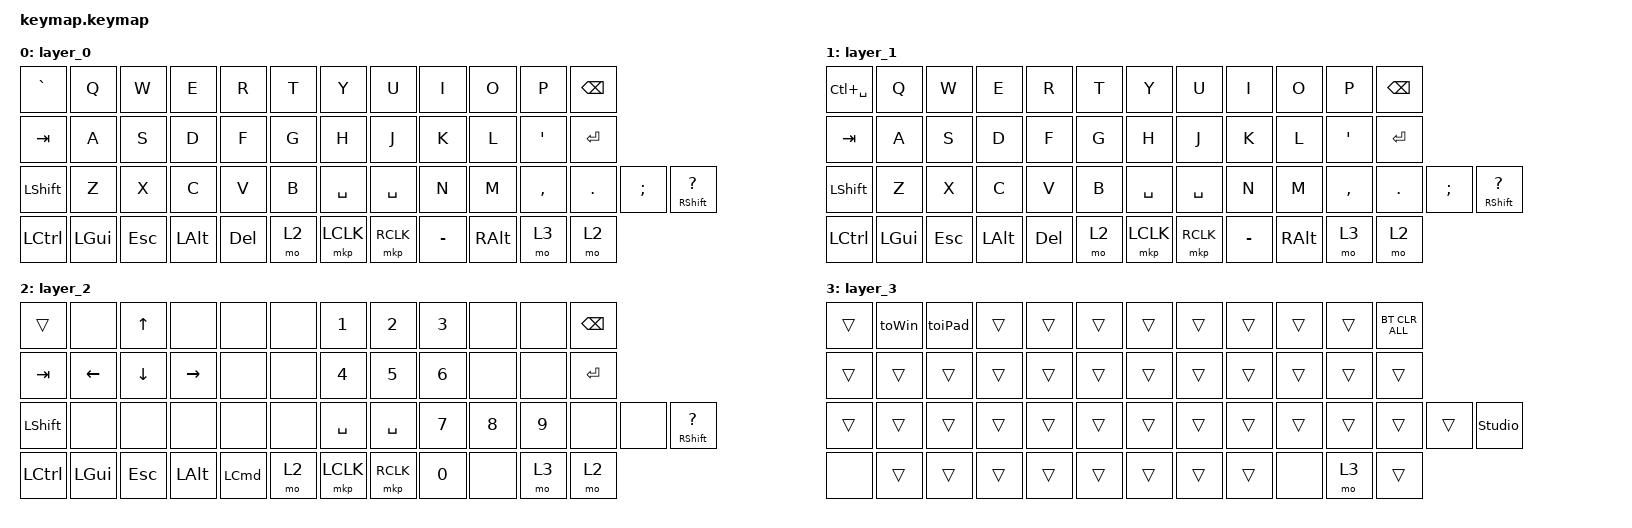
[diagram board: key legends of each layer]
#include <behaviors.dtsi>
#include <dt-bindings/zmk/bt.h>
#include <dt-bindings/zmk/keys.h>
#include <dt-bindings/zmk/pointing.h>

/ {
    combos { compatible = "zmk,combos"; };

    macros {
        toWin: toWin {
            compatible = "zmk,behavior-macro";
            #binding-cells = <0>;
            bindings = <&to 0 &bt BT_SEL 0>;
            label = "TOWIN";
        };

        toiPad: toiPad {
            compatible = "zmk,behavior-macro";
            #binding-cells = <0>;
            bindings = <&to 1 &bt BT_SEL 1>;
            label = "TOIPAD";
        };
    };

    keymap {
        compatible = "zmk,keymap";

        layer_0 {
            bindings = <
&kp GRAVE  &kp Q         &kp W    &kp E     &kp R       &kp T  &kp Y      &kp U      &kp I      &kp O          &kp P             &kp BSPC
&kp TAB    &kp A         &kp S    &kp D     &kp F       &kp G  &kp H      &kp J      &kp K      &kp L          &kp SINGLE_QUOTE  &kp ENTER
&kp LSHFT  &kp Z         &kp X    &kp C     &kp V       &kp B  &kp SPACE  &kp SPACE  &kp N      &kp M          &kp COMMA         &kp DOT    &kp SEMICOLON  &mt RSHFT QUESTION
&kp LCTRL  &kp LEFT_GUI  &kp ESC  &kp LALT  &kp DELETE  &mo 2  &mkp LCLK  &mkp RCLK  &kp MINUS  &kp RIGHT_ALT  &mo 3             &mo 2
            >;
        };

        layer_1 {
            bindings = <
&kp LC(SPACE)  &kp Q         &kp W    &kp E     &kp R       &kp T  &kp Y      &kp U      &kp I      &kp O          &kp P             &kp BSPC
&kp TAB        &kp A         &kp S    &kp D     &kp F       &kp G  &kp H      &kp J      &kp K      &kp L          &kp SINGLE_QUOTE  &kp ENTER
&kp LSHFT      &kp Z         &kp X    &kp C     &kp V       &kp B  &kp SPACE  &kp SPACE  &kp N      &kp M          &kp COMMA         &kp DOT    &kp SEMICOLON  &mt RSHFT QUESTION
&kp LCTRL      &kp LEFT_GUI  &kp ESC  &kp LALT  &kp DELETE  &mo 2  &mkp LCLK  &mkp RCLK  &kp MINUS  &kp RIGHT_ALT  &mo 3             &mo 2
            >;
        };

        layer_2 {
            bindings = <
&trans     &none           &kp UP_ARROW  &none            &none             &none  &kp N1     &kp N2     &kp N3  &none   &none   &kp BSPC
&kp TAB    &kp LEFT_ARROW  &kp DOWN      &kp RIGHT_ARROW  &none             &none  &kp N4     &kp N5     &kp N6  &none   &none   &kp ENTER
&kp LSHFT  &none           &none         &none            &none             &none  &kp SPACE  &kp SPACE  &kp N7  &kp N8  &kp N9  &none      &none  &mt RSHFT QUESTION
&kp LCTRL  &kp LEFT_GUI    &kp ESC       &kp LALT         &kp LEFT_COMMAND  &mo 2  &mkp LCLK  &mkp RCLK  &kp N0  &none   &mo 3   &mo 2
            >;
        };

        layer_3 {
            bindings = <
&trans  &toWin  &toiPad  &trans  &trans  &trans  &trans  &trans  &trans  &trans  &trans  &bt BT_CLR_ALL
&trans  &trans  &trans   &trans  &trans  &trans  &trans  &trans  &trans  &trans  &trans  &trans
&trans  &trans  &trans   &trans  &trans  &trans  &trans  &trans  &trans  &trans  &trans  &trans          &trans  &studio_unlock
&none   &trans  &trans   &trans  &trans  &trans  &trans  &trans  &trans  &none   &mo 3   &trans
            >;
        };
    };
};
